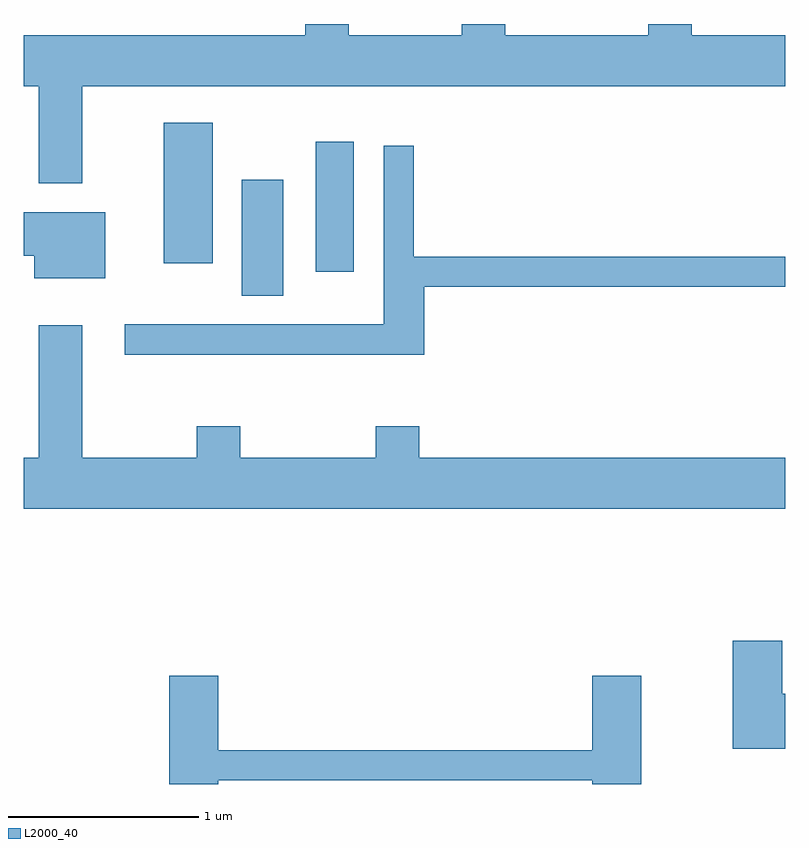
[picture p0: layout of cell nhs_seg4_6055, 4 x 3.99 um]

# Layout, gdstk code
import gdstk
lib = gdstk.Library(unit=1e-6, precision=1e-09)
def R(c, l, rs):  # rectangles x0, y0, x1, y1
    for r in rs: c.add(gdstk.rectangle(r[:2], r[2:], *l))
def P(c, l, *ps):  # polygons
    for p in ps: c.add(gdstk.Polygon(p, *l))
L2000_40 = (2000, 40)

nhs_seg4_6055 = lib.new_cell('nhs_seg4_6055')
R(nhs_seg4_6055, L2000_40, [(364.756,1262.556,364.974,1263.164), (365.146,1262.681,365.344,1263.364), (364.346,1262.726,364.604,1263.464)])
P(nhs_seg4_6055, L2000_40, [(363.919,1263.656),(367.611,1263.656),(367.611,1263.924),(367.119,1263.924),(367.119,1263.982),(366.891,1263.982),(366.891,1263.924),(366.139,1263.924),(366.139,1263.982),(365.911,1263.982),(365.911,1263.924),(365.319,1263.924),(365.319,1263.982),(365.091,1263.982),(365.091,1263.924),(363.611,1263.924),(363.611,1263.656),(363.691,1263.656),(363.691,1263.146),(363.919,1263.146)],
  [(365.714,1262.601),(367.611,1262.601),(367.611,1262.759),(365.659,1262.759),(365.659,1263.343),(365.501,1263.343),(365.501,1262.404),(364.143,1262.404),(364.143,1262.246),(365.714,1262.246)],
  [(364.039,1262.994),(363.611,1262.994),(363.611,1262.766),(363.666,1262.766),(363.666,1262.646),(364.039,1262.646)],
  [(367.611,1261.704),(365.689,1261.704),(365.689,1261.869),(365.461,1261.869),(365.461,1261.704),(364.749,1261.704),(364.749,1261.869),(364.521,1261.869),(364.521,1261.704),(363.919,1261.704),(363.919,1262.399),(363.691,1262.399),(363.691,1261.704),(363.611,1261.704),(363.611,1261.436),(367.611,1261.436)],
  [(367.611,1260.464),(367.594,1260.464),(367.594,1260.744),(367.336,1260.744),(367.336,1260.176),(367.611,1260.176)],
  [(364.634,1260.011),(366.596,1260.011),(366.596,1259.991),(366.854,1259.991),(366.854,1260.559),(366.596,1260.559),(366.596,1260.169),(364.634,1260.169),(364.634,1260.559),(364.376,1260.559),(364.376,1259.991),(364.634,1259.991)])

lib.write_gds('nhs_seg4_6055.gds')
